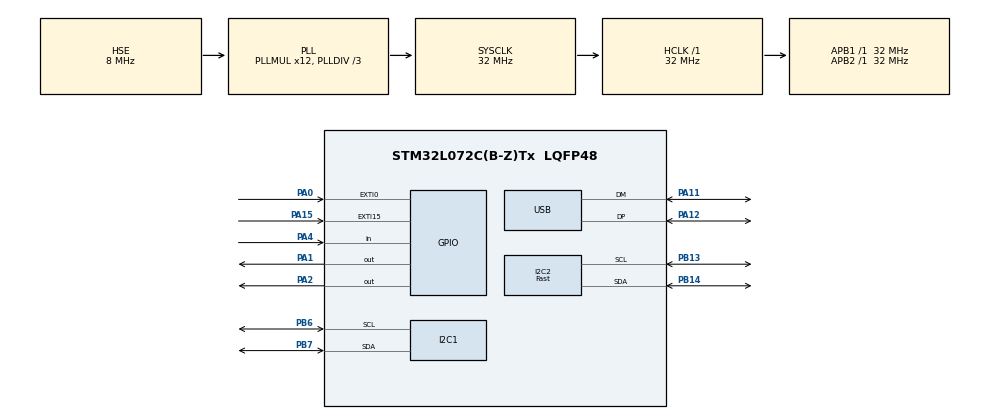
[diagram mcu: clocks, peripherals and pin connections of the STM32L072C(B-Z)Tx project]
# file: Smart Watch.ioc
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FREERTOS.Tasks01=menu,24,512,Menu_Task,Default,NULL,Dynamic,NULL,NULL;imu,8,128,Imu_Task,Default,NULL,Dynamic,NULL,NULL
I2C1.Timing=0x00B07CB4
I2C2.I2C_Speed_Mode=I2C_Fast
I2C2.Timing=0x0060112F
Mcu.Family=STM32L0
Mcu.Name=STM32L072C(B-Z)Tx
Mcu.Package=LQFP48
NVIC.EXTI0_1_IRQn=true\:3\:0\:false\:false\:true\:true\:true\:true\:true
NVIC.EXTI4_15_IRQn=true\:3\:0\:false\:false\:true\:true\:true\:true\:true
NVIC.USB_IRQn=true\:3\:0\:false\:false\:true\:true\:false\:true\:true
PA0.GPIO_ModeDefaultEXTI=GPIO_MODE_IT_RISING
PA0.GPIO_PuPd=GPIO_PULLUP
PA0.Signal=GPXTI0
PA1.GPIO_PuPd=GPIO_NOPULL
PA1.GPIO_Speed=GPIO_SPEED_FREQ_LOW
PA1.Signal=GPIO_Output
PA11.Mode=Device
PA11.Signal=USB_DM
PA12.Mode=Device
PA12.Signal=USB_DP
PA15.Signal=GPXTI15
PA2.Signal=GPIO_Output
PA4.GPIO_PuPd=GPIO_PULLUP
PA4.Signal=GPIO_Input
PB13.Mode=I2C
PB13.Signal=I2C2_SCL
PB14.Mode=I2C
PB14.Signal=I2C2_SDA
PB6.Mode=I2C
PB6.Signal=I2C1_SCL
PB7.Mode=I2C
PB7.Signal=I2C1_SDA
PC14-OSC32_IN.Mode=LSE-External-Oscillator
PC14-OSC32_IN.Signal=RCC_OSC32_IN
PC15-OSC32_OUT.Mode=LSE-External-Oscillator
PC15-OSC32_OUT.Signal=RCC_OSC32_OUT
PH0-OSC_IN.Mode=HSE-External-Oscillator
PH0-OSC_IN.Signal=RCC_OSC_IN
PH1-OSC_OUT.Mode=HSE-External-Oscillator
PH1-OSC_OUT.Signal=RCC_OSC_OUT
ProjectManager.HeapSize=0x200
ProjectManager.StackSize=0x400
ProjectManager.TargetToolchain=STM32CubeIDE
RCC.AHBFreq_Value=32000000
RCC.APB1Freq_Value=32000000
RCC.APB1TimFreq_Value=32000000
RCC.APB2Freq_Value=32000000
RCC.APB2TimFreq_Value=32000000
RCC.HCLKFreq_Value=32000000
RCC.HSE_VALUE=8000000
RCC.HSI16_VALUE=16000000
RCC.HSI48MClockSelection=RCC_USBCLKSOURCE_HSI48
RCC.HSI48_VALUE=48000000
RCC.HSI_VALUE=16000000
RCC.MSI_VALUE=2097000
RCC.PLLDIV=RCC_PLLDIV_3
RCC.PLLMUL=RCC_PLLMUL_12
RCC.PLLSourceVirtual=RCC_PLLSOURCE_HSE
RCC.RTCClockSelection=RCC_RTCCLKSOURCE_LSE
RCC.RTCClockSelectionVirtual=RCC_RTCCLKSOURCE_LSE
RCC.SYSCLKFreq_VALUE=32000000
RCC.SYSCLKSource=RCC_SYSCLKSOURCE_PLLCLK
RCC.VCOOutputFreq_Value=96000000
RTC.Date=21
RTC.Format=RTC_FORMAT_BIN
RTC.Hours=13
RTC.Minutes=54
RTC.Month=RTC_MONTH_JULY
USB_DEVICE.CLASS_NAME_FS=CDC
USB_DEVICE.VirtualMode=Cdc
USB_DEVICE.VirtualModeFS=Cdc_FS
VP_FREERTOS_VS_CMSIS_V2.Mode=CMSIS_V2
VP_RTC_VS_RTC_Activate.Mode=RTC_Enabled
VP_RTC_VS_RTC_Calendar.Mode=RTC_Calendar
VP_USB_DEVICE_VS_USB_DEVICE_CDC_FS.Mode=CDC_FS
board=custom

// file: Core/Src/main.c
/* USER CODE BEGIN Header */
/**
  ******************************************************************************
  * @file           : main.c
  * @brief          : Main program body
  ******************************************************************************
  * @attention
  *
  * Copyright (c) 2025 STMicroelectronics.
  * All rights reserved.
  *
  * This software is licensed under terms that can be found in the LICENSE file
  * in the root directory of this software component.
  * If no LICENSE file comes with this software, it is provided AS-IS.
  *
  ******************************************************************************
  */
/* USER CODE END Header */
#include "main.h"
#include "cmsis_os.h"
#include "usb_device.h"

/* USER CODE BEGIN Includes */
#include "ssd1306.h"
#include "ssd1306_fonts.h"
#include "lsm6ds3tr-c.h"

/* USER CODE END Includes */

/* USER CODE BEGIN PTD */
 RTC_TimeTypeDef sTime;
 RTC_DateTypeDef sDate;
/* USER CODE END PTD */

/* USER CODE BEGIN PD */

 typedef enum{
	  DISPLAY_CLOCK,
	  DISPLAY_CONFIG,
	  DISPLAY_SENSORS,
	  DISPLAY_OPTIONS,
	  DISPLAY_ACTIVE,
	  DISPLAY_INACTIVE
 } menu;

 // Flags for the menu
 volatile menu main_menu;
 volatile uint8_t select_pressed = 0;
 volatile uint32_t button_last_pressed;
/* USER CODE END PD */

I2C_HandleTypeDef hi2c1;
I2C_HandleTypeDef hi2c2;

RTC_HandleTypeDef hrtc;

/* Definitions for menu */
osThreadId_t menuHandle;
const osThreadAttr_t menu_attributes = {
  .name = "menu",
  .stack_size = 512 * 4,
  .priority = (osPriority_t) osPriorityNormal,
};
/* Definitions for imu */
osThreadId_t imuHandle;
const osThreadAttr_t imu_attributes = {
  .name = "imu",
  .stack_size = 128 * 4,
  .priority = (osPriority_t) osPriorityLow,
};

void SystemClock_Config(void);
static void MX_GPIO_Init(void);
static void MX_I2C1_Init(void);
static void MX_I2C2_Init(void);
static void MX_RTC_Init(void);
void Menu_Task(void *argument);
void Imu_Task(void *argument);

/* USER CODE BEGIN 0 */

void menu_display_time(){
	HAL_RTC_GetTime(&hrtc, &sTime, RTC_FORMAT_BIN);
	HAL_RTC_GetDate(&hrtc, &sDate, RTC_FORMAT_BIN);

	char hour[100];
	char minute[100];

	ssd1306_Fill(Black);

	snprintf(hour, sizeof(hour), "%02d", sTime.Hours);
	snprintf(minute, sizeof(minute), "%02d", sTime.Minutes);

	// Show time (hour above minutes)
	ssd1306_SetCursor(16, 32);
	ssd1306_WriteString(hour, Font_16x26, White);
	ssd1306_SetCursor(16, 60);
	ssd1306_WriteString(minute, Font_16x26, White);
	ssd1306_UpdateScreen();

	// Go to menu
	if(!HAL_GPIO_ReadPin(GPIOA, GPIO_PIN_4)){
		vTaskDelay(pdMS_TO_TICKS(300));
		main_menu = DISPLAY_OPTIONS;
		button_last_pressed = HAL_GetTick();
	}
}

void show_menu(){
	menu static current_selected = DISPLAY_CLOCK;

	ssd1306_Fill(Black);

	// Navigate menu options
	if(select_pressed){
		current_selected = (current_selected + 1) % 3;
		select_pressed = 0;
	}

	// Select menu option
	if(!HAL_GPIO_ReadPin(GPIOA, GPIO_PIN_4)){
		main_menu = current_selected;
		button_last_pressed = HAL_GetTick();
	}

	// Show which option is selected
	switch(current_selected){
		case DISPLAY_CLOCK:
			ssd1306_SetCursor(2, 0);
			ssd1306_WriteString(">Clock", Font_7x10, White);
			ssd1306_SetCursor(2, 24);
			ssd1306_WriteString("Config", Font_7x10, White);
			ssd1306_SetCursor(2, 48);
			ssd1306_WriteString("Sensors", Font_7x10, White);
			break;
		case DISPLAY_CONFIG:
			ssd1306_SetCursor(2, 0);
			ssd1306_WriteString("Clock", Font_7x10, White);
			ssd1306_SetCursor(2, 24);
			ssd1306_WriteString(">Config", Font_7x10, White);
			ssd1306_SetCursor(2, 48);
			ssd1306_WriteString("Sensors", Font_7x10, White);
			break;
		case DISPLAY_SENSORS:
			ssd1306_SetCursor(2, 0);
			ssd1306_WriteString("Clock", Font_7x10, White);
			ssd1306_SetCursor(2, 24);
			ssd1306_WriteString("Config", Font_7x10, White);
			ssd1306_SetCursor(2, 48);
			ssd1306_WriteString(">Sensors", Font_7x10, White);
			break;
		default:
			break;
	}

	ssd1306_UpdateScreen();
}

void show_sensors(){
	int16_t ax, ay, az, gx, gy, gz;
	char gyro[50];
	char accel[50];
	char steps[50];
	uint16_t step;
	//char temp[50];

	// Go to menu
	if(!HAL_GPIO_ReadPin(GPIOA, GPIO_PIN_4)){
		vTaskDelay(pdMS_TO_TICKS(300));
		main_menu = DISPLAY_OPTIONS;
		button_last_pressed = HAL_GetTick();
	}

	// Read Sensors
	lsm6ds3tr_c_read_gyro(&gx, &gy, &gz);
	lsm6ds3tr_c_read_accel(&ax, &ay, &az);
	lsm6ds3tr_c_read_step_count(&step);
	//LSM6DS3_ReadTemp(&hi2c1, &tempInt);

	// Display Sensors
	ssd1306_Fill(Black);

	// Convert to string
	snprintf(gyro, sizeof(gyro), "%d,%d,%d", map_to_range(gx), map_to_range(gy), map_to_range(gz));
	snprintf(accel, sizeof(accel), "%d,%d,%d", map_to_range(ax), map_to_range(ay), map_to_range(az));
	snprintf(steps, sizeof(steps), "%d", step);
	//snprintf(temp, sizeof(temp), "%d", convert_to_fahrenheit(tempInt));

	ssd1306_SetCursor(16, 0);
	ssd1306_WriteString("Gyro", Font_6x8, White);
	ssd1306_SetCursor(2, 12);
	ssd1306_WriteString(gyro, Font_6x8, White);

	ssd1306_SetCursor(16, 24);
	ssd1306_WriteString("Accel", Font_6x8, White);
	ssd1306_SetCursor(2, 36);
	ssd1306_WriteString(accel, Font_6x8, White);

	ssd1306_SetCursor(16, 48);
	ssd1306_WriteString("Steps", Font_6x8, White);
	ssd1306_SetCursor(2, 60);
	ssd1306_WriteString(steps, Font_6x8, White);

	// Removed Temperature as it is not reliable
	/*
	ssd1306_SetCursor(16, 48);
	ssd1306_WriteString("Temp", Font_6x8, White);
	ssd1306_SetCursor(16, 58);
	ssd1306_WriteString(temp, Font_6x8, White);
	 */
	ssd1306_UpdateScreen();
	vTaskDelay(pdMS_TO_TICKS(100));
}

void menu_change_time(){
    typedef enum{
        STATE_EDIT_HOUR,
        STATE_EDIT_MINUTE,
        STATE_CONFIRM_FIELD
    } MenuState;

    HAL_RTC_GetTime(&hrtc, &sTime, RTC_FORMAT_BIN);
    HAL_RTC_GetDate(&hrtc, &sDate, RTC_FORMAT_BIN);

    char hour[50];
    char minute[50];

    ssd1306_Fill(Black);

    static MenuState menu_selected = STATE_EDIT_HOUR;

    snprintf(hour, sizeof(hour), "%02d", sTime.Hours);
    snprintf(minute, sizeof(minute), "%02d", sTime.Minutes);

    // Select hour or minute
    if(select_pressed){
        menu_selected = (menu_selected + 1) % 3;
        select_pressed = 0;
    }

    // Auto-repeat button variables
    static int button_was_pressed = 0;
    static uint32_t press_start_tick = 0;
    static uint32_t last_repeat_tick = 0;

    int button_pressed = !HAL_GPIO_ReadPin(GPIOA, GPIO_PIN_4);

    uint32_t current_tick = osKernelGetTickCount();

    // Auto-repeat timing constants
    const uint32_t initial_delay = 500 / portTICK_PERIOD_MS;
    const uint32_t repeat_interval = 100 / portTICK_PERIOD_MS;

    if(button_pressed){
    	button_last_pressed = HAL_GetTick();
        if(!button_was_pressed){
            // Button just pressed, increment once
            if(menu_selected == STATE_EDIT_HOUR){
                if(sTime.Hours < 23) sTime.Hours++;
                else sTime.Hours = 0;
                HAL_RTC_SetTime(&hrtc, &sTime, RTC_FORMAT_BIN);
            }
            else if(menu_selected == STATE_EDIT_MINUTE){
                if(sTime.Minutes < 59) sTime.Minutes++;
                else sTime.Minutes = 0;
                HAL_RTC_SetTime(&hrtc, &sTime, RTC_FORMAT_BIN);
            }
            else if(menu_selected == STATE_CONFIRM_FIELD){
                main_menu = DISPLAY_OPTIONS;
            }
            press_start_tick = current_tick;
            last_repeat_tick = current_tick;
        } else {
            // Button held down, increment fast
            if((current_tick - press_start_tick) > initial_delay &&
               (current_tick - last_repeat_tick) > repeat_interval){
                // Repeat increment
                if(menu_selected == STATE_EDIT_HOUR){
                    if(sTime.Hours < 23) sTime.Hours++;
                    else sTime.Hours = 0;
                    HAL_RTC_SetTime(&hrtc, &sTime, RTC_FORMAT_BIN);
                }
                else if(menu_selected == STATE_EDIT_MINUTE){
                    if(sTime.Minutes < 59) sTime.Minutes++;
                    else sTime.Minutes = 0;
                    HAL_RTC_SetTime(&hrtc, &sTime, RTC_FORMAT_BIN);
                }

                last_repeat_tick = current_tick;
            }
        }
    } else {
        // Reset
        button_was_pressed = 0;
        press_start_tick = 0;
        last_repeat_tick = 0;
    }

    button_was_pressed = button_pressed;

    // Show cursors ( > ) based on the current state
    switch(menu_selected){
        case STATE_EDIT_HOUR:
            ssd1306_SetCursor(2, 32);
            ssd1306_WriteString(">", Font_11x18, White);
            break;
        case STATE_EDIT_MINUTE:
            ssd1306_SetCursor(2, 60);
            ssd1306_WriteString(">", Font_11x18, White);
            break;
        case STATE_CONFIRM_FIELD:
            ssd1306_SetCursor(2, 105);
            ssd1306_WriteString(">", Font_11x18, White);
            break;
    }

    // Show time (hour above minutes)
    ssd1306_SetCursor(16, 32);
    ssd1306_WriteString(hour, Font_16x26, White);
    ssd1306_SetCursor(16, 60);
    ssd1306_WriteString(minute, Font_16x26, White);
    ssd1306_SetCursor(16, 105);
    ssd1306_WriteString("Save", Font_11x18, White);
    ssd1306_UpdateScreen();
}

void menu_inactive(){
	ssd1306_SetDisplayOn(0);

	// If any event occurs, turn on the display
	if(lsm6ds3tr_c_read_wrist(&hi2c1) || select_pressed || (!HAL_GPIO_ReadPin(GPIOA, GPIO_PIN_4))){
		main_menu = DISPLAY_ACTIVE;
	}
}

void menu_active(){
	  ssd1306_SetDisplayOn(1);
	  button_last_pressed = HAL_GetTick();
	  select_pressed = 0;
	  main_menu = DISPLAY_CLOCK;
}

void HAL_GPIO_EXTI_Callback(uint16_t GPIO_Pin){
	switch(GPIO_Pin){
		case GPIO_PIN_0:
			select_pressed = 1;
			button_last_pressed = HAL_GetTick();
			break;
		case GPIO_PIN_15:
			if(ssd1306_GetDisplayOn()){
				main_menu = DISPLAY_INACTIVE;
			}else{
				main_menu = DISPLAY_ACTIVE;
			}
			break;
		default:
			break;
	}
}
/* USER CODE END 0 */

int main(void)
{

  /* MCU Configuration--------------------------------------------------------*/

  /* Reset of all peripherals, Initializes the Flash interface and the Systick. */
  HAL_Init();

  /* Configure the system clock */
  SystemClock_Config();

  /* USER CODE BEGIN SysInit */
  /* init code for USB_DEVICE */
  MX_USB_DEVICE_Init();
  /* USER CODE END SysInit */

  /* Initialize all configured peripherals */
  MX_GPIO_Init();
  MX_I2C1_Init();
  MX_I2C2_Init();
  MX_RTC_Init();
  /* USER CODE BEGIN 2 */

  // This is necessary for OLED Screen power-up
  HAL_GPIO_WritePin(GPIOA, GPIO_PIN_2, 0);
  HAL_Delay(1);
  HAL_GPIO_WritePin(GPIOA, GPIO_PIN_2, 1);
  HAL_Delay(100);

  // Init accelerometer and gyroscope
  lsm6ds3tr_c_init();

  // Init Pedometer
  lsm6ds3tr_c_pedometer_init();

  // Init Wrist Tilt
  lsm6ds3tr_c_wrist_tilt_init();

  // Tap Init
  lsm6ds3tr_c_tap_cfg();

  // OLED Screen
  ssd1306_Init();
  ssd1306_Fill(Black);
  ssd1306_SetCursor(2, 0);
  ssd1306_WriteString("Hello", Font_11x18, White);
  ssd1306_SetCursor(2, 32);
  ssd1306_WriteString("World", Font_11x18, White);
  ssd1306_UpdateScreen();

  /* USER CODE END 2 */

  /* Init scheduler */
  osKernelInitialize();

  /* Create the thread(s) */
  /* creation of menu */
  menuHandle = osThreadNew(Menu_Task, NULL, &menu_attributes);

  /* creation of imu */
  imuHandle = osThreadNew(Imu_Task, NULL, &imu_attributes);

  /* Start scheduler */
  osKernelStart();

  /* We should never get here as control is now taken by the scheduler */

  /* Infinite loop */
  while (1)
  {

  }
}

void SystemClock_Config(void)
{
  RCC_OscInitTypeDef RCC_OscInitStruct = {0};
  RCC_ClkInitTypeDef RCC_ClkInitStruct = {0};
  RCC_PeriphCLKInitTypeDef PeriphClkInit = {0};

  /** Configure the main internal regulator output voltage
  */
  __HAL_PWR_VOLTAGESCALING_CONFIG(PWR_REGULATOR_VOLTAGE_SCALE1);

  /** Configure LSE Drive Capability
  */
  HAL_PWR_EnableBkUpAccess();
  __HAL_RCC_LSEDRIVE_CONFIG(RCC_LSEDRIVE_LOW);

  /** Initializes the RCC Oscillators according to the specified parameters
  * in the RCC_OscInitTypeDef structure.
  */
  RCC_OscInitStruct.OscillatorType = RCC_OSCILLATORTYPE_HSE|RCC_OSCILLATORTYPE_LSE
                              |RCC_OSCILLATORTYPE_HSI48;
  RCC_OscInitStruct.HSEState = RCC_HSE_ON;
  RCC_OscInitStruct.LSEState = RCC_LSE_ON;
  RCC_OscInitStruct.HSI48State = RCC_HSI48_ON;
  RCC_OscInitStruct.PLL.PLLState = RCC_PLL_ON;
  RCC_OscInitStruct.PLL.PLLSource = RCC_PLLSOURCE_HSE;
  RCC_OscInitStruct.PLL.PLLMUL = RCC_PLLMUL_12;
  RCC_OscInitStruct.PLL.PLLDIV = RCC_PLLDIV_3;
  if (HAL_RCC_OscConfig(&RCC_OscInitStruct) != HAL_OK)
  {
    Error_Handler();
  }

  /** Initializes the CPU, AHB and APB buses clocks
  */
  RCC_ClkInitStruct.ClockType = RCC_CLOCKTYPE_HCLK|RCC_CLOCKTYPE_SYSCLK
                              |RCC_CLOCKTYPE_PCLK1|RCC_CLOCKTYPE_PCLK2;
  RCC_ClkInitStruct.SYSCLKSource = RCC_SYSCLKSOURCE_PLLCLK;
  RCC_ClkInitStruct.AHBCLKDivider = RCC_SYSCLK_DIV1;
  RCC_ClkInitStruct.APB1CLKDivider = RCC_HCLK_DIV1;
  RCC_ClkInitStruct.APB2CLKDivider = RCC_HCLK_DIV1;

  if (HAL_RCC_ClockConfig(&RCC_ClkInitStruct, FLASH_LATENCY_1) != HAL_OK)
  {
    Error_Handler();
  }
  PeriphClkInit.PeriphClockSelection = RCC_PERIPHCLK_I2C1|RCC_PERIPHCLK_RTC
                              |RCC_PERIPHCLK_USB;
  PeriphClkInit.I2c1ClockSelection = RCC_I2C1CLKSOURCE_PCLK1;
  PeriphClkInit.RTCClockSelection = RCC_RTCCLKSOURCE_LSE;
  PeriphClkInit.UsbClockSelection = RCC_USBCLKSOURCE_HSI48;
  if (HAL_RCCEx_PeriphCLKConfig(&PeriphClkInit) != HAL_OK)
  {
    Error_Handler();
  }
}

static void MX_I2C1_Init(void)
{

  hi2c1.Instance = I2C1;
  hi2c1.Init.Timing = 0x00B07CB4;
  hi2c1.Init.OwnAddress1 = 0;
  hi2c1.Init.AddressingMode = I2C_ADDRESSINGMODE_7BIT;
  hi2c1.Init.DualAddressMode = I2C_DUALADDRESS_DISABLE;
  hi2c1.Init.OwnAddress2 = 0;
  hi2c1.Init.OwnAddress2Masks = I2C_OA2_NOMASK;
  hi2c1.Init.GeneralCallMode = I2C_GENERALCALL_DISABLE;
  hi2c1.Init.NoStretchMode = I2C_NOSTRETCH_DISABLE;
  if (HAL_I2C_Init(&hi2c1) != HAL_OK)
  {
    Error_Handler();
  }

  /** Configure Analogue filter
  */
  if (HAL_I2CEx_ConfigAnalogFilter(&hi2c1, I2C_ANALOGFILTER_ENABLE) != HAL_OK)
  {
    Error_Handler();
  }

  /** Configure Digital filter
  */
  if (HAL_I2CEx_ConfigDigitalFilter(&hi2c1, 0) != HAL_OK)
  {
    Error_Handler();
  }

}

static void MX_I2C2_Init(void)
{

  hi2c2.Instance = I2C2;
  hi2c2.Init.Timing = 0x0060112F;
  hi2c2.Init.OwnAddress1 = 0;
  hi2c2.Init.AddressingMode = I2C_ADDRESSINGMODE_7BIT;
  hi2c2.Init.DualAddressMode = I2C_DUALADDRESS_DISABLE;
  hi2c2.Init.OwnAddress2 = 0;
  hi2c2.Init.OwnAddress2Masks = I2C_OA2_NOMASK;
  hi2c2.Init.GeneralCallMode = I2C_GENERALCALL_DISABLE;
  hi2c2.Init.NoStretchMode = I2C_NOSTRETCH_DISABLE;
  if (HAL_I2C_Init(&hi2c2) != HAL_OK)
  {
    Error_Handler();
  }

  /** Configure Analogue filter
  */
  if (HAL_I2CEx_ConfigAnalogFilter(&hi2c2, I2C_ANALOGFILTER_ENABLE) != HAL_OK)
  {
    Error_Handler();
  }

  /** Configure Digital filter
  */
  if (HAL_I2CEx_ConfigDigitalFilter(&hi2c2, 0) != HAL_OK)
  {
    Error_Handler();
  }

}

static void MX_RTC_Init(void)
{

  RTC_TimeTypeDef sTime = {0};
  RTC_DateTypeDef sDate = {0};

  /** Initialize RTC Only
  */
  hrtc.Instance = RTC;
  hrtc.Init.HourFormat = RTC_HOURFORMAT_24;
  hrtc.Init.AsynchPrediv = 127;
  hrtc.Init.SynchPrediv = 255;
  hrtc.Init.OutPut = RTC_OUTPUT_DISABLE;
  hrtc.Init.OutPutRemap = RTC_OUTPUT_REMAP_NONE;
  hrtc.Init.OutPutPolarity = RTC_OUTPUT_POLARITY_HIGH;
  hrtc.Init.OutPutType = RTC_OUTPUT_TYPE_OPENDRAIN;
  if (HAL_RTC_Init(&hrtc) != HAL_OK)
  {
    Error_Handler();
  }

  /** Initialize RTC and set the Time and Date
  */
  sTime.Hours = 13;
  sTime.Minutes = 54;
  sTime.Seconds = 0;
  sTime.DayLightSaving = RTC_DAYLIGHTSAVING_NONE;
  sTime.StoreOperation = RTC_STOREOPERATION_RESET;
  if (HAL_RTC_SetTime(&hrtc, &sTime, RTC_FORMAT_BIN) != HAL_OK)
  {
    Error_Handler();
  }
  sDate.WeekDay = RTC_WEEKDAY_MONDAY;
  sDate.Month = RTC_MONTH_JULY;
  sDate.Date = 21;
  sDate.Year = 0;

  if (HAL_RTC_SetDate(&hrtc, &sDate, RTC_FORMAT_BIN) != HAL_OK)
  {
    Error_Handler();
  }

}

static void MX_GPIO_Init(void)
{
  GPIO_InitTypeDef GPIO_InitStruct = {0};

  /* GPIO Ports Clock Enable */
  __HAL_RCC_GPIOC_CLK_ENABLE();
  __HAL_RCC_GPIOH_CLK_ENABLE();
  __HAL_RCC_GPIOA_CLK_ENABLE();
  __HAL_RCC_GPIOB_CLK_ENABLE();

  /*Configure GPIO pin Output Level */
  HAL_GPIO_WritePin(GPIOA, GPIO_PIN_1|GPIO_PIN_2, GPIO_PIN_RESET);

  /*Configure GPIO pin : PA0 */
  GPIO_InitStruct.Pin = GPIO_PIN_0;
  GPIO_InitStruct.Mode = GPIO_MODE_IT_RISING;
  GPIO_InitStruct.Pull = GPIO_PULLUP;
  HAL_GPIO_Init(GPIOA, &GPIO_InitStruct);

  /*Configure GPIO pins : PA1 PA2 */
  GPIO_InitStruct.Pin = GPIO_PIN_1|GPIO_PIN_2;
  GPIO_InitStruct.Mode = GPIO_MODE_OUTPUT_PP;
  GPIO_InitStruct.Pull = GPIO_NOPULL;
  GPIO_InitStruct.Speed = GPIO_SPEED_FREQ_LOW;
  HAL_GPIO_Init(GPIOA, &GPIO_InitStruct);

  /*Configure GPIO pin : PA4 */
  GPIO_InitStruct.Pin = GPIO_PIN_4;
  GPIO_InitStruct.Mode = GPIO_MODE_INPUT;
  GPIO_InitStruct.Pull = GPIO_PULLUP;
  HAL_GPIO_Init(GPIOA, &GPIO_InitStruct);

  /*Configure GPIO pin : PA15 */
  GPIO_InitStruct.Pin = GPIO_PIN_15;
  GPIO_InitStruct.Mode = GPIO_MODE_IT_RISING;
  GPIO_InitStruct.Pull = GPIO_NOPULL;
  HAL_GPIO_Init(GPIOA, &GPIO_InitStruct);

  /* EXTI interrupt init*/
  HAL_NVIC_SetPriority(EXTI0_1_IRQn, 3, 0);
  HAL_NVIC_EnableIRQ(EXTI0_1_IRQn);

  HAL_NVIC_SetPriority(EXTI4_15_IRQn, 3, 0);
  HAL_NVIC_EnableIRQ(EXTI4_15_IRQn);

}

void Menu_Task(void *argument)
{
  /* init code for USB_DEVICE */
  MX_USB_DEVICE_Init();
  /* USER CODE BEGIN 5 */
  main_menu = DISPLAY_CLOCK;

  // Timer for turn off the screen if watch is not being used
  button_last_pressed = HAL_GetTick();
  uint32_t delayMs = 15000;
  /* Infinite loop */
  for(;;)
  {
	  // Screen Display Timer
	  if ((HAL_GetTick() - button_last_pressed) >= delayMs) {
	      main_menu = DISPLAY_INACTIVE;
	      button_last_pressed = HAL_GetTick();
	      select_pressed = 0;
	  }

	  switch(main_menu){
	  	  case DISPLAY_CLOCK:
	  		  menu_display_time();
	  		  break;
	  	  case DISPLAY_CONFIG:
	  	  	  menu_change_time();
	  		  break;
	  	  case DISPLAY_SENSORS:
	  		  show_sensors();
	  		  break;
	  	  case DISPLAY_OPTIONS:
	  		  show_menu();
	  		  break;
	  	  case DISPLAY_INACTIVE:
	  		  menu_inactive();
	  		  break;
	  	  case DISPLAY_ACTIVE:
	  		  menu_active();
	  		  break;
	  	  default:
	  		  break;
	  }
	  vTaskDelay(pdMS_TO_TICKS(100));
  }
  /* USER CODE END 5 */
}

void Imu_Task(void *argument)
{
  /* USER CODE BEGIN Imu_Task */
  /* Infinite loop */
  for(;;)
  {
    osDelay(100);
  }
  /* USER CODE END Imu_Task */
}

void Error_Handler(void)
{
  __disable_irq();
  while (1)
  {
  }
}
